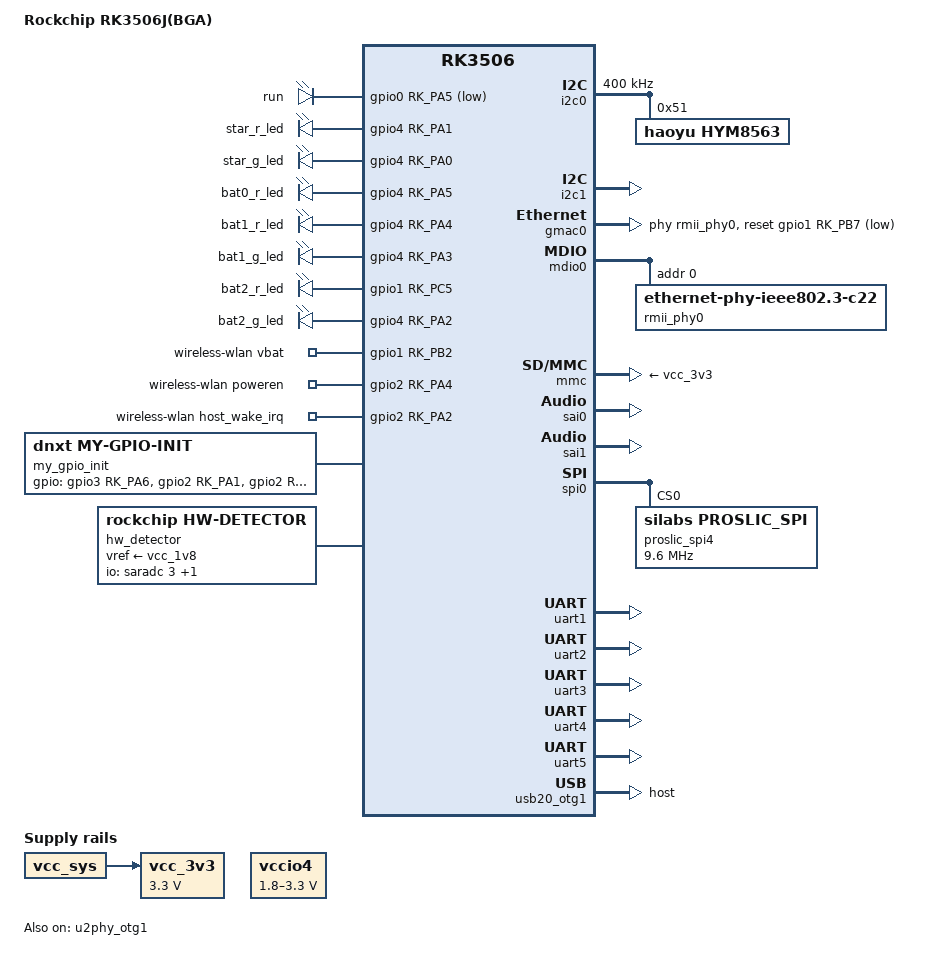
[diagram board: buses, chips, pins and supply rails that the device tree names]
// SPDX-License-Identifier: (GPL-2.0+ OR MIT)
/*
 * Copyright (c) 2024 Rockchip Electronics Co., Ltd.
 */

/dts-v1/;

#include "rk3506-my-base-emmc.dtsi"

/ {
	model = "Rockchip RK3506J(BGA)";
	compatible = "rockchip,rk3506J", "rockchip,rk3506";

	leds {
		compatible = "gpio-leds";
		status = "okay";

		heart_led: heart_led {
			label = "run";
			gpios = <&gpio0 RK_PA5 GPIO_ACTIVE_LOW>;
			linux,default-trigger = "heartbeat";
			default-state = "off";
		};

		star_r_led: star_r_led {
			label = "star_r_led";
			gpios = <&gpio4 RK_PA1 GPIO_ACTIVE_HIGH>;
			linux,default-trigger = "none";
			default-state = "off";
		};
		star_g_led: star_g_led {
			label = "star_g_led";
			gpios = <&gpio4 RK_PA0 GPIO_ACTIVE_HIGH>;
			linux,default-trigger = "none";
			default-state = "off";
		};


		bat0_r_led: bat0_r_led {
			label = "bat0_r_led";
			gpios = <&gpio4 RK_PA5 GPIO_ACTIVE_HIGH>;
			linux,default-trigger = "none";
			default-state = "off";
		};

		bat1_r_led: bat1_r_led {
			label = "bat1_r_led";
			gpios = <&gpio4 RK_PA4 GPIO_ACTIVE_HIGH>;
			linux,default-trigger = "none";
			default-state = "off";
		};
		bat1_g_led: bat1_g_led {
			label = "bat1_g_led";
			gpios = <&gpio4 RK_PA3 GPIO_ACTIVE_HIGH>;
			linux,default-trigger = "none";
			default-state = "off";
		};

		bat2_r_led: bat2_r_led {
			label = "bat2_r_led";
			gpios = <&gpio1 RK_PC5 GPIO_ACTIVE_HIGH>;
			linux,default-trigger = "none";
			default-state = "off";
		};
		bat2_g_led: bat2_g_led {
			label = "bat2_g_led";
			gpios = <&gpio4 RK_PA2 GPIO_ACTIVE_HIGH>;
			linux,default-trigger = "none";
			default-state = "off";
		};
	};

	wireless-wlan {
		compatible = "wlan-platdata";
		rockchip,grf = <&grf>;
		pinctrl-names = "default";
		pinctrl-0 = <&wifi_wake_host>;
		WIFI,vbat_gpio = <&gpio1 RK_PB2 GPIO_ACTIVE_HIGH>;
		WIFI,poweren_gpio = <&gpio2 RK_PA4 GPIO_ACTIVE_HIGH>;
		WIFI,host_wake_irq = <&gpio2 RK_PA2 GPIO_ACTIVE_HIGH>;
		status = "okay";
	};

	my_gpio_init: my-gpio-init {
		compatible = "dnxt,my-gpio-init";
		status = "okay";

		init-delay-ms = <0>;

		gpios = <&gpio3 RK_PA6 GPIO_ACTIVE_HIGH    // 0 GD-ON-H
				 &gpio2 RK_PA1 GPIO_ACTIVE_HIGH    // 1 PWROFF-H
				 &gpio2 RK_PA3 GPIO_ACTIVE_HIGH    // 2 HOST-WAKE-WIFI
				 &gpio2 RK_PA5 GPIO_ACTIVE_HIGH    // 3 TR-ON-H
				 &gpio1 RK_PA0 GPIO_ACTIVE_HIGH    // 4 A2B-PWRKEY-H
				 &gpio1 RK_PA1 GPIO_ACTIVE_HIGH    // 5 A2B-RST-L
				 &gpio1 RK_PA2 GPIO_ACTIVE_HIGH    // 6 A2B-WAKE
				 &gpio1 RK_PA3 GPIO_ACTIVE_HIGH    // 7 A2B-SLEEP
				 &gpio1 RK_PB1 GPIO_ACTIVE_HIGH    // 8 BB-ON-H
				 &gpio1 RK_PB3 GPIO_ACTIVE_HIGH    // 9 PHYON-H
				 &gpio1 RK_PC1 GPIO_ACTIVE_HIGH    // 10 TR-STMRST-H
				 &gpio1 RK_PC0 GPIO_ACTIVE_HIGH    // 11 555-RST-L
				 &gpio1 RK_PB4 GPIO_ACTIVE_HIGH    // 12 SLIC-ON-H
				 &gpio2 RK_PA4 GPIO_ACTIVE_HIGH>;  // 13 WIFI-PWRKEY-H


		gpio-names = "gd_on_h",
		             "pwroff_h",
		             "host_wake_wifi",
		             "tr_on_h",
		             "a2b_pwrkey_h",
		             "a2b_rst_l",
		             "a2b_wake",
		             "a2b_sleep",
		             "bb_on_h",
		             "phyon_h",
		             "tr_stmrst_h",
		             "rst_555_l",
		             "slic_on_h",
		             "wifi_pwrkey_h";

		//                  0 1 2 3 4 5 6 7 8 9 10 11 12 13
		gpio-init-states = <1 0 0 1 1 1 0 0 1 1  0  1  1  1>;

		// format: <gpio_index delay_ms>
		gpio-delays = <5 10>;

		// format: <gpio_index delay_ms target_state>
		gpio-state-delays = <5 10 1>;
	};

	vccio4: mmcio-gpio-regulator {
		compatible = "regulator-gpio";

		regulator-name = "mmcio-gpio-supply";
		regulator-min-microvolt = <1800000>;
		regulator-max-microvolt = <3300000>;

		pinctrl-names = "default";
		pinctrl-0 = <&vccio4_gpio>;

		gpios = <&gpio0 RK_PD0 GPIO_ACTIVE_HIGH>;
		gpios-states = <0>;
		states = <3300000 0x1>,
				 <1800000 0x0>;

		startup-delay-us = <100000>;
	};

	vcc_3v3: vcc-3v3 {
		compatible = "regulator-fixed";
		regulator-name = "vcc_3v3";
		regulator-always-on;
		regulator-boot-on;
		regulator-min-microvolt = <3300000>;
		regulator-max-microvolt = <3300000>;
		vin-supply = <&vcc_sys>;
	};

	sai0-sound {
		compatible = "rockchip,multicodecs-card";
		rockchip,card-name = "sai0-modem";
		rockchip,format = "dsp_b";
		rockchip,mclk-fs = <256>;

		dai-tdm-slot-num = <2>;
		dai-tdm-slot-width = <16>;
		dai-tdm-slot-tx-mask = <1>;  // 只发送通道0
		dai-tdm-slot-rx-mask = <1>;  // 只接收通道0

		rockchip,cpu = <&sai0>;
		rockchip,codec = <&modem_audio_codec>;

		status = "okay";
	};

	modem_audio_codec: modem-audio-codec {
		compatible = "rockchip,dummy-codec";
		#sound-dai-cells = <0>;
		pcm-slot-size = <16>;             // 16位数据
		pcm-clock-rate = <2048000>;       // 2.048MHz时钟
		pcm-frame-rate = <8000>;          // 8kHz帧率
		channel-count = <1>;              // 单通道
		channel-map = <0>;                // 使用通道0

		status = "okay";
	};

	sai1-sound {
		compatible = "rockchip,multicodecs-card";
		rockchip,card-name = "sai1-proslic";
		rockchip,format = "dsp_b";
		rockchip,mclk-fs = <256>;

		dai-tdm-slot-num = <2>;
		dai-tdm-slot-width = <16>;
		dai-tdm-slot-tx-mask = <1>;  // 只发送通道0
		dai-tdm-slot-rx-mask = <1>;  // 只接收通道0

		rockchip,cpu = <&sai1>;
		rockchip,codec = <&proslic_audio_codec>;
		status = "okay";
	};

	proslic_audio_codec: proslic-audio-codec {
		compatible = "rockchip,dummy-codec";
		#sound-dai-cells = <0>;
		pcm-slot-size = <16>;             // 16位数据
		pcm-clock-rate = <2048000>;       // 2.048MHz时钟
		pcm-frame-rate = <8000>;          // 8kHz帧率
		channel-count = <1>;              // 单通道
		channel-map = <0>;                // 使用通道0

		status = "okay";
	};

	hw_detector: hw-detector {
		compatible = "rockchip,hw-detector";
		status = "okay";

		io-channels = <&saradc 3>, <&saradc 2>;
		io-channel-names = "hw_version", "vbat";

		// 硬件版本检测参数
		hw-version-adc-channel = <0>; // 对应io-channels中的第一个(通道2)
		hw-version-thresholds = <
								/* min(mV) max(mV) version */
								0       200     0       // 版本1: 0-200mV (0.0V)
								1600    2000    1       // 版本2: 1.6-2.0V (1.8V)
								800     1000    2       // 版本3: 800-1000mV (0.9V)
								250     350     3       // 版本4: 250-350mV (0.3V)
								>;

		// 电压检测参数
		vbat-adc-channel = <1>; // 对应io-channels中的第二个(通道3)
		vbat-divider-ratio = <4922>; // 分压比 * 1000 (7.0/1.422≈4.922)
		vbat-ref-voltage = <1800>; // 参考电压1800mV
		vbat-calibration = <
							/* adc电压(mV) 实际电压(mV) */
							1422    7000    // 1.422V对应7.0V
							1707    8400    // 1.707V对应8.4V
							>;

		sample-count = <5>;        // 每次采样次数
		sample-interval-ms = <10>; // 采样间隔
		debounce-count = <3>;      // 去抖动次数

        vref-supply = <&vcc_1v8>;
	};
};

&i2c0 {
	clock-frequency = <400000>;
	status = "okay";
	pinctrl-names = "default";
	pinctrl-0 = <&rm_io31_i2c0_scl &rm_io20_i2c0_sda>;

	hym8563: hym8563@51 {
		compatible = "haoyu,hym8563";
		reg = <0x51>;
		// #clock-cells = <0>;
		// clock-frequency = <32768>;
		// clock-output-names = "hym8563";
		// pinctrl-names = "default";
		// pinctrl-0 = <&hym8563_int>;
		// interrupt-parent = <&gpio0>;
		// interrupts = <RK_PC0 IRQ_TYPE_LEVEL_LOW>;

		wakeup-source;
	};
};

&i2c1 {
	pinctrl-names = "default";
	pinctrl-0 = <&rm_io13_i2c1_scl &rm_io8_i2c1_sda>;
	status = "okay";
};


&gmac0 {
	clock_in_out = "input";

	snps,reset-gpio = <&gpio1 RK_PB7 GPIO_ACTIVE_LOW>;
	snps,reset-active-low;
	snps,reset-delays-us = <0 20000 100000>;

	pinctrl-names = "default";
	pinctrl-0 = <&eth_rmii0_miim_pins
				 &eth_rmii0_tx_bus2_pins
				 &eth_rmii0_rx_bus2_pins
				 &eth_rmii0_clk_pins>;

	phy-handle = <&rmii_phy0>;
	status = "okay";
};

&mdio0 {
	rmii_phy0: phy@0 {
		compatible = "ethernet-phy-ieee802.3-c22";
		reg = <0x0>;
		clocks = <&cru CLK_MAC_OUT>;
		assigned-clocks = <&cru CLK_MAC_OUT>;
		assigned-clock-rates = <25000000>;
	};
};

&mmc {
	vqmmc-supply = <&vccio4>;
	vmmc-supply = <&vcc_3v3>;
};

&pinctrl {
	wireless-wlan {
		wifi_wake_host: wifi-wake-host {
			rockchip,pins = <1 RK_PB2 RK_FUNC_GPIO &pcfg_pull_none>,
							<2 RK_PA4 RK_FUNC_GPIO &pcfg_pull_none>,
							<2 RK_PA2 RK_FUNC_GPIO &pcfg_pull_up>;
		};
	};

	sdmmc {
		vccio4_gpio: vccio4_gpio {
			rockchip,pins = <0 RK_PD0 RK_FUNC_GPIO &pcfg_pull_none>;
		};
	};

	proslic {
		proslic_int: proslic-int {
			rockchip,pins = <1 RK_PB5 RK_FUNC_GPIO &pcfg_pull_up>;
		};
		proslic_reset: proslic-reset {
			rockchip,pins = <1 RK_PB6 RK_FUNC_GPIO &pcfg_pull_up>;
		};
	};
};

&ramoops {
	reg = <0x1d3000 0x2d000>;
	status = "okay";
};

/* xw modem codec */
&sai0 {
	pinctrl-0 = <&sai0_lrck_pins
				 &sai0_sclk_pins
				 &sai0_sdi0_pins
				 &sai0_sdo_pins>;
	rockchip,trcm-sync-tx-only;
	rockchip,mclk-fs = <256>;
	status = "okay";
};

/* proslic codec */
&sai1 {
	pinctrl-0 = <&sai1_lrck_pins
				 &sai1_sclk_pins
				 &sai1_sdi_pins
				 &sai1_sdo0_pins>;
	rockchip,trcm-sync-tx-only;
	assigned-clocks = <&cru MCLK_SAI1>;
	assigned-clock-rates = <2048000>;  // 2.048MHz
	rockchip,mclk-fs = <256>;
	rockchip,always-on;
	status = "okay";
};

&spi0 {
	status = "okay";
	max-freq = <48000000>;
	num-cs = <1>;
	pinctrl-0 = <&spi0_csn0_pins &spi0_clk_pins>;

	proslic_spi4: si32185@0 {
		compatible = "silabs,proslic_spi";
		reg = <0>;
		spi-max-frequency = <9600000>;
		spi-cpol = <1>;
		spi-cpha = <1>;

		int_gpio = <45>; /* 1 RK_PB5 */
		reset_gpio = <46>; /* 1 RK_PB6 */
		channel_count = <1>;
		debug_level = <4>;

		status = "okay";
	};
};

&uart1 {// tr ctrl uart6
	pinctrl-names = "default";
	pinctrl-0 = <&rm_io15_uart1_rx &rm_io14_uart1_tx>;
	dma-names = "tx", "rx";
	status = "okay";
};

&uart2 {// gd rs422
	pinctrl-names = "default";
	pinctrl-0 = <&rm_io6_uart2_rx &rm_io7_uart2_tx>;
	dma-names = "tx", "rx";
	status = "okay";
};

&uart3 {// modem uart2 at contrl
	pinctrl-names = "default";
	pinctrl-0 = <&rm_io29_uart3_rx &rm_io30_uart3_tx>;
	dma-names = "tx", "rx";
	status = "okay";
};

&uart4 {// modem uart1 at contrl
	pinctrl-names = "default";
	pinctrl-0 = <&rm_io27_uart4_rx &rm_io28_uart4_tx>;
	dma-names = "tx", "rx";
	status = "okay";
};

&uart5 {// modem uart0 ppp
	dma-names = "tx", "rx";
	status = "okay";
};

&u2phy_otg1 {
	status = "okay";
};

&usb20_otg1 {
	dr_mode = "host";
	status = "okay";
};
